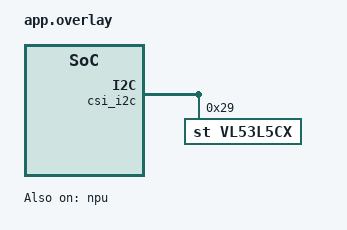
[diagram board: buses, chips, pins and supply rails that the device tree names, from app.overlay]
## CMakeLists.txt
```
cmake_minimum_required(VERSION 3.20.0)

set(BOARD stm32n6570_dk)
set(SHIELD st_b_cams_imx_mb1854)

find_package(Zephyr REQUIRED HINTS $ENV{ZEPHYR_BASE})

project(app LANGUAGES C)

target_sources(app PRIVATE
    src/main.c
    src/tof_display.c
    src/sd_logger.c
)
```

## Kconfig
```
mainmenu "Zephyr IMU sample application"

menu "Application options"
config MY_APP
	bool "Enable app"
	default y
	select USE_STM32_HAL_RAMCFG
	select USE_STM32_HAL_CACHEAXI
	select FPU
	select CMSIS_DSP
	help
		enable application
endmenu

source "Kconfig.zephyr"
```

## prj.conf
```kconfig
CONFIG_MY_APP=y
CONFIG_MAIN_STACK_SIZE=32768
# CONFIG_XIP is not set
CONFIG_USE_STM32_MW_ISP=y
CONFIG_DYNAMIC_INTERRUPTS=y
CONFIG_FLASH=y
CONFIG_HW_STACK_PROTECTION=y
CONFIG_GPIO=y
CONFIG_SERIAL=y
CONFIG_LOG=y
CONFIG_ASSERT=n
CONFIG_CONSOLE=y
CONFIG_UART_CONSOLE=y
CONFIG_I2C=y
CONFIG_SENSOR=y
CONFIG_VL53L5CX=y
CONFIG_STM32_MEMMAP=y

# Display / LVGL
CONFIG_DISPLAY=y
CONFIG_LVGL=y
CONFIG_LV_Z_MEM_POOL_SIZE=65536
CONFIG_LV_FONT_MONTSERRAT_14=y

# SD card / FATFS logging
CONFIG_DISK_DRIVER_SDMMC=y
CONFIG_FILE_SYSTEM=y
CONFIG_FAT_FILESYSTEM_ELM=y
# CONFIG_FILE_SYSTEM_FATFS=y
```

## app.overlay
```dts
/*
 * Copyright (c) 2025 STMicroelectronics.
 * All rights reserved.
 *
 * This software is licensed under terms that can be found in the LICENSE file
 * in the root directory of this software component.
 * If no LICENSE file comes with this software, it is provided AS-IS.
 */

/ {
	chosen {
		zephyr,camera_aux = &pipe_aux;
	};
};

// Turn on so called npu rams. They will used by NPU for model actvation buffers
&axisram3 {
	status = "okay";
};
&axisram4 {
	status = "okay";
};
&axisram5 {
	status = "okay";
};
&axisram6 {
	status = "okay";
};

&csi_i2c {
	status = "okay";

	vl53l5cx: vl53l5cx@29 {
		compatible = "st,vl53l5cx";
		reg = <0x29>;          /* default 7-bit address (8-bit: 0x52) */

		ranging-profile = <1>; /* VL53L5CX_PROFILE_4x4_CONTINUOUS     */
		timing-budget   = <30>;
		frequency       = <5>;
	};
};

// Turn on npu
&npu {
	status = "okay";
};

// Temporary patch that allows to turn on cache on psram
// Remove this when merge upstream
&psram {
	/* Prevent access to the last 32bytes of the memory-mapped device */
	reg = <0x90000000 (DT_SIZE_M(32) - 32)>;
	zephyr,memory-attr = <DT_MEM_ARM(ATTR_MPU_RAM)>;
};
```

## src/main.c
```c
#include <string.h>
#include <stdio.h>

#include <zephyr/kernel.h>
#include <zephyr/logging/log.h>
#include <zephyr/device.h>
#include <zephyr/drivers/gpio.h>
#include <zephyr/drivers/display.h>
#include <zephyr/drivers/sensor.h>
#include <lvgl.h>

#include "tof_display.h"
#include "sd_logger.h"

LOG_MODULE_REGISTER(tof);

#define LED0_NODE DT_ALIAS(led0)
#define SW0_NODE  DT_ALIAS(sw0)

static const struct gpio_dt_spec led    = GPIO_DT_SPEC_GET(LED0_NODE, gpios);
static const struct gpio_dt_spec btn    = GPIO_DT_SPEC_GET(SW0_NODE,  gpios);
static const struct device       *tof_dev = DEVICE_DT_GET(DT_NODELABEL(vl53l5cx));

static struct gpio_callback btn_cb_data;

/* ── Class labels ────────────────────────────────────────────────────────── */

static const char *const CLASS_NAMES[] = {
    "OK", "STOP", "THUMB_UP", "VICTORIA", "FUCK", "OTHER"
};
#define NUM_CLASSES ((int)ARRAY_SIZE(CLASS_NAMES))

static int g_class_idx;  /* written + read only from display thread */

/* ── Shared ToF data (sensor → display thread) ───────────────────────────── */

static K_SEM_DEFINE(save_sem,  0, 1);
static K_SEM_DEFINE(class_sem, 0, 1);
static K_MUTEX_DEFINE(g_tof_lock);
static struct {
    uint32_t dist_mm[TOF_GRID_ZONES];
    uint8_t  status[TOF_GRID_ZONES];
    bool     fresh;
} g_tof;

static uint32_t g_press_time_ms;

static void btn_isr(const struct device *dev, struct gpio_callback *cb, uint32_t pins)
{
    ARG_UNUSED(cb);
    ARG_UNUSED(pins);

    if (gpio_pin_get_dt(&btn) > 0) {
        /* Rising edge — button pressed */
        g_press_time_ms = k_uptime_get_32();
    } else {
        /* Falling edge — button released */
        uint32_t dur = k_uptime_get_32() - g_press_time_ms;

        if (dur >= 800U) {
            k_sem_give(&class_sem);
        } else {
            k_sem_give(&save_sem);
        }
    }
}

/* ── Thread stacks ───────────────────────────────────────────────────────── */

#define LED_STACK_SIZE     1024
#define TOF_STACK_SIZE     4096
#define DISPLAY_STACK_SIZE 32768

K_THREAD_STACK_DEFINE(led_stack,     LED_STACK_SIZE);
K_THREAD_STACK_DEFINE(tof_stack,     TOF_STACK_SIZE);
K_THREAD_STACK_DEFINE(display_stack, DISPLAY_STACK_SIZE);

static struct k_thread led_thread, tof_thread, display_thread;

/* ── LED heartbeat ───────────────────────────────────────────────────────── */

static void led_thread_func(void *p1, void *p2, void *p3)
{
    while (1) {
        gpio_pin_toggle_dt(&led);
        k_msleep(500);
    }
}

/* ── Sensor polling ──────────────────────────────────────────────────────── */

static void tof_thread_func(void *p1, void *p2, void *p3)
{
    if (!device_is_ready(tof_dev)) {
        LOG_ERR("VL53L5CX device not ready");
        return;
    }

    while (1) {
        if (sensor_sample_fetch(tof_dev) != 0) {
            LOG_ERR("ToF fetch failed");
            k_msleep(200);
            continue;
        }

        k_mutex_lock(&g_tof_lock, K_FOREVER);

        for (int z = 0; z < TOF_GRID_ZONES; z++) {
            struct sensor_value sv = {0};

            sensor_channel_get(tof_dev,
                               (enum sensor_channel)(SENSOR_CHAN_PRIV_START + z),
                               &sv);
            g_tof.dist_mm[z] = (uint32_t)sv.val1;
            g_tof.status[z]  = (uint8_t)sv.val2;
        }
        g_tof.fresh = true;

        k_mutex_unlock(&g_tof_lock);
    }
}

/* ── Display / LVGL ──────────────────────────────────────────────────────── */

static void display_thread_func(void *p1, void *p2, void *p3)
{
    const struct device *disp_dev = DEVICE_DT_GET(DT_CHOSEN(zephyr_display));

    if (!device_is_ready(disp_dev)) {
        LOG_ERR("Display not ready");
        return;
    }

    if (tof_display_init(disp_dev) != 0) {
        LOG_ERR("Display init failed");
        return;
    }

    uint32_t dist_snap[TOF_GRID_ZONES];
    uint8_t  stat_snap[TOF_GRID_ZONES];
    char     status_buf[80];

    snprintf(status_buf, sizeof(status_buf),
             "Class: %-8s  |  short=save  long=cycle",
             CLASS_NAMES[g_class_idx]);
    tof_display_set_status(status_buf);

    while (1) {
        if (k_mutex_lock(&g_tof_lock, K_NO_WAIT) == 0) {
            if (g_tof.fresh) {
                memcpy(dist_snap, g_tof.dist_mm, sizeof(dist_snap));
                memcpy(stat_snap, g_tof.status,  sizeof(stat_snap));
                g_tof.fresh = false;
                k_mutex_unlock(&g_tof_lock);

                tof_display_update(dist_snap, stat_snap);
            } else {
                k_mutex_unlock(&g_tof_lock);
            }
        }

        if (k_sem_take(&class_sem, K_NO_WAIT) == 0) {
            g_class_idx = (g_class_idx + 1) % NUM_CLASSES;
            snprintf(status_buf, sizeof(status_buf),
                     "Class: %-8s  |  short=save  long=cycle",
                     CLASS_NAMES[g_class_idx]);
            tof_display_set_status(status_buf);
        }

        if (k_sem_take(&save_sem, K_NO_WAIT) == 0) {
            snprintf(status_buf, sizeof(status_buf),
                     "Saving [%s]...", CLASS_NAMES[g_class_idx]);
            tof_display_set_status(status_buf);
            lv_timer_handler();

            int rc = sd_logger_save(dist_snap, stat_snap,
                                    CLASS_NAMES[g_class_idx]);
            if (rc == 0) {
                snprintf(status_buf, sizeof(status_buf),
                         "[%s] saved at %u ms",
                         CLASS_NAMES[g_class_idx],
                         (unsigned)k_uptime_get_32());
            } else {
                snprintf(status_buf, sizeof(status_buf),
                         "SD save failed: %d", rc);
            }
            tof_display_set_status(status_buf);
        }

        lv_timer_handler();
        k_msleep(16); /* ~60 Hz LVGL refresh */
    }
}

/* ── Entry point ─────────────────────────────────────────────────────────── */

int main(void)
{
    if (device_is_ready(led.port)) {
        gpio_pin_configure_dt(&led, GPIO_OUTPUT_ACTIVE);
    }

    if (device_is_ready(btn.port)) {
        gpio_pin_configure_dt(&btn, GPIO_INPUT);
        gpio_pin_interrupt_configure_dt(&btn, GPIO_INT_EDGE_BOTH);
        gpio_init_callback(&btn_cb_data, btn_isr, BIT(btn.pin));
        gpio_add_callback(btn.port, &btn_cb_data);
    } else {
        LOG_WRN("SW0 button not ready");
    }

    k_thread_create(&led_thread, led_stack, LED_STACK_SIZE,
                    led_thread_func, NULL, NULL, NULL,
                    K_PRIO_PREEMPT(8), 0, K_NO_WAIT);

    k_thread_create(&tof_thread, tof_stack, TOF_STACK_SIZE,
                    tof_thread_func, NULL, NULL, NULL,
                    K_PRIO_PREEMPT(7), 0, K_NO_WAIT);

    /*
     * Display thread runs at higher priority (lower number) so LVGL stays
     * responsive even while the ToF thread busy-polls the sensor.
     */
    k_thread_create(&display_thread, display_stack, DISPLAY_STACK_SIZE,
                    display_thread_func, NULL, NULL, NULL,
                    K_PRIO_PREEMPT(5), 0, K_NO_WAIT);

    return 0;
}
```

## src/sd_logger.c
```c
#include "sd_logger.h"

#include <stdio.h>
#include <string.h>
#include <zephyr/kernel.h>
#include <zephyr/logging/log.h>
#include <zephyr/fs/fs.h>
#include <ff.h>

LOG_MODULE_REGISTER(sd_logger);

#define MOUNT_POINT   "/SD:"
#define DIR_PATH      MOUNT_POINT "/tof/dataset"
#define CSV_PATH      DIR_PATH "/data.csv"

static FATFS fat_fs;
static struct fs_mount_t mp = {
    .type      = FS_FATFS,
    .fs_data   = &fat_fs,
    .mnt_point = MOUNT_POINT,
};

static bool mounted;

static int ensure_mounted(void)
{
    if (mounted) {
        return 0;
    }
    int rc = fs_mount(&mp);
    if (rc != 0) {
        LOG_ERR("fs_mount failed: %d", rc);
        return rc;
    }
    mounted = true;

    /* Create directory tree (ignore EEXIST) */
    rc = fs_mkdir(MOUNT_POINT "/tof");
    if (rc != 0 && rc != -EEXIST) {
        LOG_ERR("mkdir /tof failed: %d", rc);
        return rc;
    }
    rc = fs_mkdir(DIR_PATH);
    if (rc != 0 && rc != -EEXIST) {
        LOG_ERR("mkdir dataset failed: %d", rc);
        return rc;
    }
    return 0;
}

int sd_logger_save(const uint32_t dist_mm[TOF_GRID_ZONES],
                   const uint8_t  statuses[TOF_GRID_ZONES],
                   const char    *label)
{
    int rc = ensure_mounted();
    if (rc != 0) {
        return rc;
    }

    struct fs_file_t f;
    fs_file_t_init(&f);

    struct fs_dirent entry;
    bool file_exists = (fs_stat(CSV_PATH, &entry) == 0);

    if (file_exists) {
        rc = fs_open(&f, CSV_PATH, FS_O_APPEND | FS_O_WRITE);
    } else {
        rc = fs_open(&f, CSV_PATH, FS_O_CREATE | FS_O_WRITE);
    }
    if (rc != 0) {
        LOG_ERR("fs_open failed: %d", rc);
        return rc;
    }

    char line[512];
    int  len;

    if (!file_exists) {
        len = snprintf(line, sizeof(line), "timestamp_ms;label");
        for (int z = 0; z < TOF_GRID_ZONES; z++) {
            len += snprintf(line + len, sizeof(line) - len, ";z%d_mm", z);
        }
        len += snprintf(line + len, sizeof(line) - len, "\n");
        fs_write(&f, line, len);
    }

    len = snprintf(line, sizeof(line), "%u;%s",
                   (unsigned)k_uptime_get_32(), label ? label : "OTHER");
    for (int z = 0; z < TOF_GRID_ZONES; z++) {
        bool valid = (statuses[z] == 0U) && (dist_mm[z] > 0U);
        uint32_t val = valid ? dist_mm[z] : 2555U;
        len += snprintf(line + len, sizeof(line) - len, ";%u", (unsigned)val);
    }
    len += snprintf(line + len, sizeof(line) - len, "\n");

    ssize_t written = fs_write(&f, line, len);
    fs_close(&f);

    if (written < 0) {
        LOG_ERR("fs_write failed: %d", (int)written);
        return (int)written;
    }

    LOG_INF("Saved row to %s (%d bytes)", CSV_PATH, len);
    return 0;
}
```

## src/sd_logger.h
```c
#pragma once

#include <stdint.h>
#include "tof_display.h"   /* TOF_GRID_ZONES */

/*
 * Append one row to /SD:/tof/dataset/data.csv.
 * Mounts the filesystem on first call. Creates the directory tree if needed.
 * Writes a CSV header on first call (or when the file did not exist).
 *
 * Returns 0 on success, negative errno on failure.
 */
int sd_logger_save(const uint32_t dist_mm[TOF_GRID_ZONES],
                   const uint8_t  statuses[TOF_GRID_ZONES],
                   const char    *label);
```

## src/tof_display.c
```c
/*
 * LVGL 4×4 distance-map visualization for the VL53L5CX ToF sensor.
 *
 * Layout on 800×480 display:
 *   - Header row (title + last-update stamp)
 *   - 4×4 grid of colored cells, each showing zone index + distance in mm
 *
 * Color coding (distance in mm):
 *   < 300 mm  → red    (very close / obstacle)
 *   < 800 mm  → orange
 *   < 1500 mm → yellow
 *   < 2500 mm → green
 *   < 4000 mm → blue
 *   ≥ 4000 mm → dark blue (very far / out of range)
 *   invalid   → dark gray
 */

#include "tof_display.h"

#include <stdio.h>
#include <lvgl.h>
#include <zephyr/drivers/display.h>

/* ── Layout constants ────────────────────────────────────────────────────── */

#define DISP_W      800
#define DISP_H      480
#define HEADER_H     48
#define FOOTER_H     32
#define GRID_PAD     12
#define CELL_GAP      6
#define COLS          8
#define ROWS          8

/*
 * Total grid area after subtracting header, footer, and outer padding.
 * Cell sizes are derived so the grid exactly fills the remaining space.
 */
#define GRID_W   (DISP_W - 2 * GRID_PAD)
#define GRID_H   (DISP_H - HEADER_H - FOOTER_H - 2 * GRID_PAD)
#define CELL_W   ((GRID_W - (COLS - 1) * CELL_GAP) / COLS)
#define CELL_H   ((GRID_H - (ROWS - 1) * CELL_GAP) / ROWS)

/* ── Module state ────────────────────────────────────────────────────────── */

static lv_obj_t *cells[ROWS][COLS];
static lv_obj_t *dist_labels[ROWS][COLS];
static lv_obj_t *title_label;
static lv_obj_t *status_label;

/* ── Helpers ─────────────────────────────────────────────────────────────── */

static lv_color_t dist_to_color(uint32_t mm, bool valid)
{
    if (!valid)      return lv_color_hex(0x3a3a4a);  /* gray   – no target  */
    if (mm < 300U)   return lv_color_hex(0xdd2222);  /* red    – very close */
    if (mm < 800U)   return lv_color_hex(0xff8800);  /* orange              */
    if (mm < 1500U)  return lv_color_hex(0xccb800);  /* yellow              */
    if (mm < 2500U)  return lv_color_hex(0x22aa44);  /* green               */
    if (mm < 4000U)  return lv_color_hex(0x2266cc);  /* blue   – far        */
    return lv_color_hex(0x1a2a44);                    /* dark blue – max     */
}

/* ── Public API ──────────────────────────────────────────────────────────── */

int tof_display_init(const struct device *disp_dev)
{
    /* Verify LVGL was initialised by Zephyr's SYS_INIT hook */
    if (lv_disp_get_default() == NULL) {
        return -ENODEV;
    }

    /* Ignore -ENOTSUP: some LTDC drivers don't implement set_pixel_format */
    (void)display_set_pixel_format(disp_dev, PIXEL_FORMAT_RGB_565);
    display_blanking_off(disp_dev);

    /* Screen background */
    lv_obj_t *scr = lv_scr_act();

    lv_obj_set_style_bg_color(scr, lv_color_hex(0x0d1117), LV_PART_MAIN);
    lv_obj_set_style_bg_opa(scr, LV_OPA_COVER, LV_PART_MAIN);

    /* Title */
    title_label = lv_label_create(scr);
    lv_label_set_text(title_label, "VL53L5CX  8x8  Distance  Map  (mm)");
    lv_obj_set_style_text_color(title_label, lv_color_hex(0xc0d0e0), LV_PART_MAIN);
    lv_obj_set_style_text_font(title_label, &lv_font_montserrat_14, LV_PART_MAIN);
    lv_obj_align(title_label, LV_ALIGN_TOP_MID, 0, 14);

    /* 4×4 cell grid */
    int grid_x0 = GRID_PAD;
    int grid_y0 = HEADER_H + GRID_PAD;

    for (int r = 0; r < ROWS; r++) {
        for (int c = 0; c < COLS; c++) {
            int x = grid_x0 + c * (CELL_W + CELL_GAP);
            int y = grid_y0 + r * (CELL_H + CELL_GAP);

            /* Cell background */
            lv_obj_t *cell = lv_obj_create(scr);

            lv_obj_set_pos(cell, x, y);
            lv_obj_set_size(cell, CELL_W, CELL_H);
            lv_obj_set_style_radius(cell, 8, LV_PART_MAIN);
            lv_obj_set_style_border_width(cell, 0, LV_PART_MAIN);
            lv_obj_set_style_bg_color(cell, lv_color_hex(0x3a3a4a), LV_PART_MAIN);
            lv_obj_set_style_pad_all(cell, 0, LV_PART_MAIN);
            lv_obj_clear_flag(cell, LV_OBJ_FLAG_SCROLLABLE);
            cells[r][c] = cell;

            /* Distance label (centered) */
            lv_obj_t *dlbl = lv_label_create(cell);

            lv_label_set_text(dlbl, "---");
            lv_obj_set_style_text_color(dlbl, lv_color_hex(0xffffff), LV_PART_MAIN);
            lv_obj_set_style_text_font(dlbl, &lv_font_montserrat_14, LV_PART_MAIN);
            lv_obj_center(dlbl);
            dist_labels[r][c] = dlbl;
        }
    }

    /* Footer status bar */
    status_label = lv_label_create(scr);
    lv_label_set_text(status_label, "Press SW0 to save snapshot to SD card");
    lv_obj_set_style_text_color(status_label, lv_color_hex(0x80a0b0), LV_PART_MAIN);
    lv_obj_set_style_text_font(status_label, &lv_font_montserrat_14, LV_PART_MAIN);
    lv_obj_align(status_label, LV_ALIGN_BOTTOM_MID, 0, -8);

    lv_timer_handler();
    return 0;
}

void tof_display_update(const uint32_t dist_mm[TOF_GRID_ZONES],
                        const uint8_t  statuses[TOF_GRID_ZONES])
{
    char buf[12];

    for (int i = 0; i < TOF_GRID_ZONES; i++) {
        int r     = i / COLS;
        int c     = i % COLS;
        bool valid = (statuses[i] == 0U) && (dist_mm[i] > 0U);

        lv_obj_set_style_bg_color(cells[r][c],
                                   dist_to_color(dist_mm[i], valid),
                                   LV_PART_MAIN);

        if (valid) {
            snprintf(buf, sizeof(buf), "%u", (unsigned)dist_mm[i]);
        } else {
            snprintf(buf, sizeof(buf), "2500");
        }
        lv_label_set_text(dist_labels[r][c], buf);
    }
}

void tof_display_set_status(const char *msg)
{
    if (status_label) {
        lv_label_set_text(status_label, msg);
    }
}
```

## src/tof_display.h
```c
#pragma once

#include <zephyr/device.h>
#include <stdint.h>

#define TOF_GRID_ZONES 64   /* 8×8 */

int  tof_display_init(const struct device *disp_dev);
void tof_display_update(const uint32_t dist_mm[TOF_GRID_ZONES],
                        const uint8_t  statuses[TOF_GRID_ZONES]);
void tof_display_set_status(const char *msg);
```
